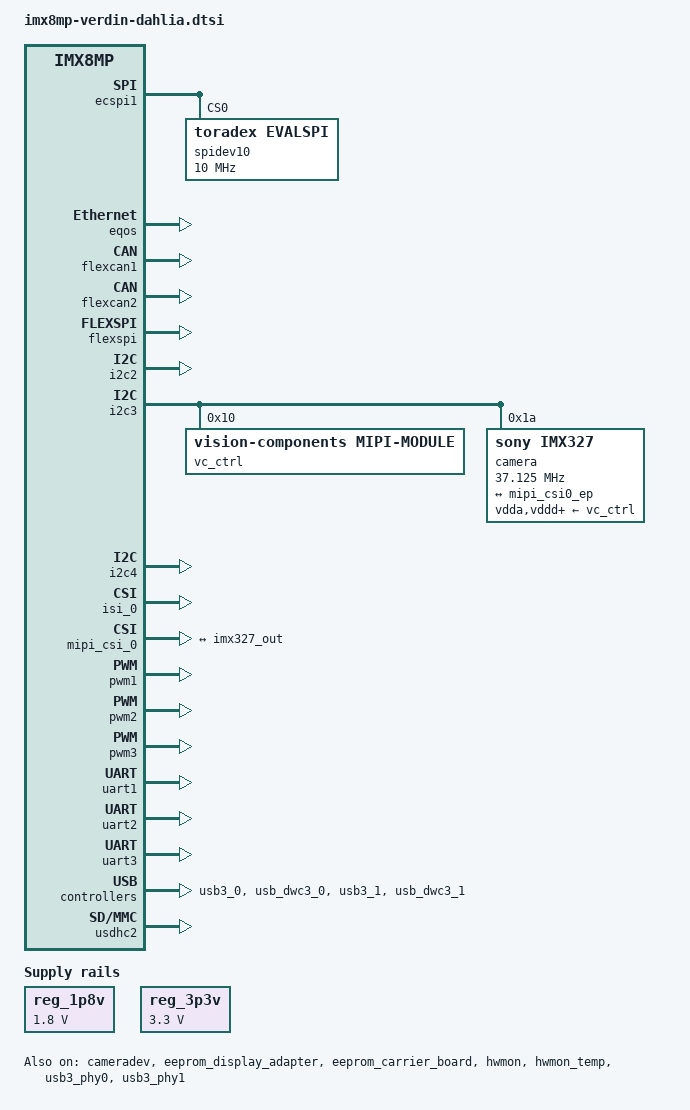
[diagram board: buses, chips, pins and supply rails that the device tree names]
// SPDX-License-Identifier: GPL-2.0+ OR MIT
/*
 * Copyright 2020 Toradex
 */

/ {
	/* Carrier Board Supply +V1.8 */
	reg_1p8v: regulator-1p8v {
		compatible = "regulator-fixed";
		regulator-max-microvolt = <1800000>;
		regulator-min-microvolt = <1800000>;
		regulator-name = "+V1.8_SW";
	};

	/* Carrier Board Supply +V3.3 */
	reg_3p3v: regulator-3p3v {
		compatible = "regulator-fixed";
		regulator-max-microvolt = <3300000>;
		regulator-min-microvolt = <3300000>;
		regulator-name = "+V3.3_SW";
	};

	x16_clk: clock-x16 {
		compatible = "fixed-clock";
		#clock-cells = <0>;
		clock-frequency = <37125000>;
	};
};

&backlight {
	power-supply = <&reg_3p3v>;
};

&cameradev {
	status = "okay";
};

/* Verdin SPI_1 */
&ecspi1 {
	status = "okay";

	spidev10: spidev@0 {
		compatible = "toradex,evalspi";
		reg = <0>;
		spi-max-frequency = <10000000>;
		status = "okay";
	};
};

/* EEPROM on display adapter boards */
&eeprom_display_adapter {
	status = "okay";
};

/* EEPROM on Verdin Development board */
&eeprom_carrier_board {
	status = "okay";
};

&eqos {
	status = "okay";
};

&flexcan1 {
	status = "okay";
};

&flexcan2 {
	status = "okay";
};

/* Verdin QSPI_1 */
&flexspi {
	status = "okay";
};

/* Current measurement into module VCC */
&hwmon {
	status = "okay";
};

&hwmon_temp {
	status = "okay";
};

/* Verdin I2C_2_DSI */
&i2c2 {
	status = "okay";
};

&i2c3 {
	status = "okay";

	vc_ctrl: controller@10 {
		compatible = "vision-components,mipi-module";
		reg = <0x10>;
	};

	camera@1a {
		compatible = "sony,imx327", "sony,imx290";
		reg = <0x1a>;

		clocks = <&x16_clk>;
		clock-names = "xclk";
		clock-frequency = <37125000>;

		vdda-supply = <&vc_ctrl>;
		vddd-supply = <&vc_ctrl>;
		vdddo-supply = <&vc_ctrl>;

		port {
			imx327_out: endpoint {
				data-lanes = <1 2 3 4>;
				link-frequencies = /bits/ 64 <148500000 222750000>;
				remote-endpoint = <&mipi_csi0_ep>;
			};
		};
	};
};

&i2c4 {
	status = "okay";
};

&isi_0 {
	status = "okay";

	cap_device {
		status = "okay";
	};
};

&mipi_csi_0 {
	#address-cells = <1>;
	#size-cells = <0>;
	status = "okay";

	port@0 {
		reg = <0>;
		mipi_csi0_ep: endpoint {
			remote-endpoint = <&imx327_out>;
			/* FIXME: This should be <1 2 3 4> */
			data-lanes = <4>;
			csis-hs-settle = <13>;
			csis-clk-settle = <2>;
			csis-wclk;
		};
	};
};

/* Verdin PWM_1 */
&pwm1 {
	status = "okay";
};

/* Verdin PWM_2 */
&pwm2 {
	status = "okay";
};

/* Verdin PWM_3_DSI */
&pwm3 {
	status = "okay";
};

&reg_usdhc2_vmmc {
	vin-supply = <&reg_3p3v>;
};

/* Verdin UART_1 */
&uart1 {
	status = "okay";
};

/* Verdin UART_2 */
&uart2 {
	status = "okay";
};

/* Verdin UART_3, used as the Linux Console */
&uart3 {
	status = "okay";
};

/* Verdin UART_4 */
/* Often used by the M7 and then should not be enabled here. */
&uart4 {
	status = "disabled";
};

/* Verdin USB_1 */
&usb3_phy0 {
	status = "okay";
};

&usb3_0 {
	status = "okay";
};

&usb_dwc3_0 {
	status = "okay";
};

/* Verdin USB_2 */
&usb3_phy1 {
	status = "okay";
};

&usb3_1 {
	status = "okay";
};

&usb_dwc3_1 {
	status = "okay";
};

/* Verdin SD_1 */
&usdhc2 {
	status = "okay";
};
